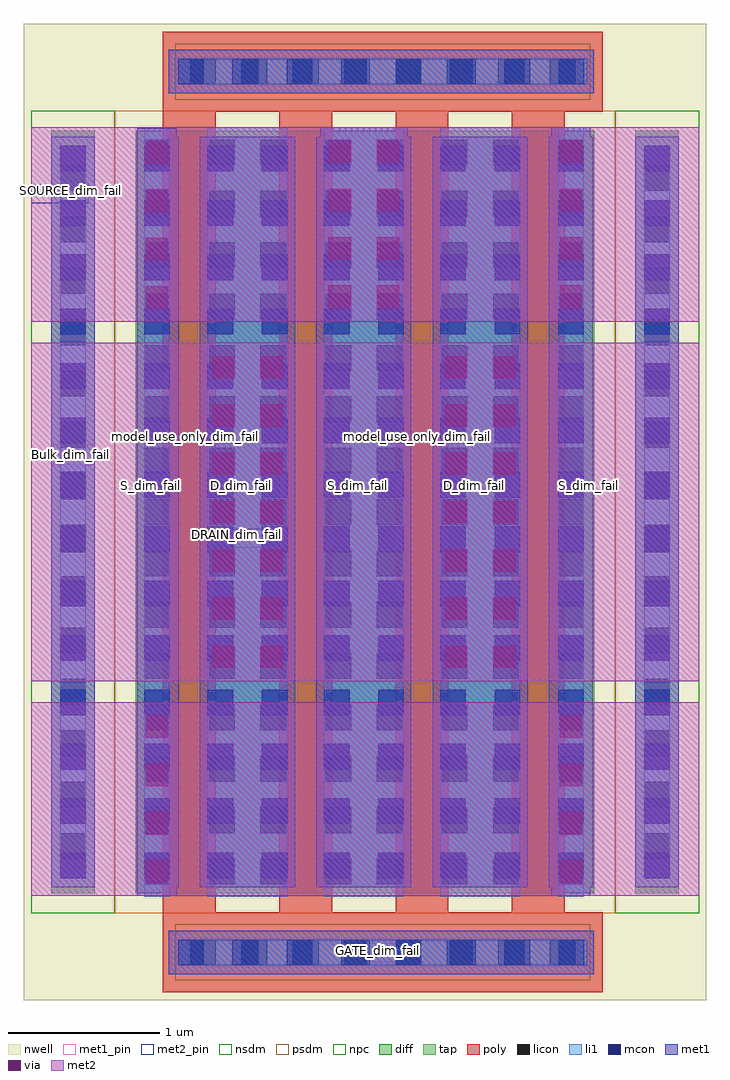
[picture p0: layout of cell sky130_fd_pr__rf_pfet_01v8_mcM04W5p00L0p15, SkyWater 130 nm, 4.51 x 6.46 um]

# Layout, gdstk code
import gdstk
lib = gdstk.Library(unit=1e-6, precision=1e-09)
def R(c, l, rs):  # rectangles x0, y0, x1, y1
    for r in rs: c.add(gdstk.rectangle(r[:2], r[2:], *l))
def A(c, l, x, y, w, h, nx, ny, dx, dy):  # array of equal rectangles
    R(c, l, [(x+i*dx, y+j*dy, x+i*dx+w, y+j*dy+h) for i in range(nx) for j in range(ny)])
def P(c, l, *ps):  # polygons
    for p in ps: c.add(gdstk.Polygon(p, *l))
nwell = (64, 20)
diff = (65, 20)
tap = (65, 44)
poly = (66, 20)
licon = (66, 44)
li1 = (67, 20)
mcon = (67, 44)
met1_pin = (68, 16)
met1 = (68, 20)
via = (68, 44)
met2_pin = (69, 16)
met2 = (69, 20)
nsdm = (93, 44)
psdm = (94, 20)
npc = (95, 20)

sky130_fd_pr__rf_pfet_01 = lib.new_cell('sky130_fd_pr__rf_pfet_01v8_mcM04W5p00L0p15')
R(sky130_fd_pr__rf_pfet_01, nwell, [(-0.05,0,4.465,6.46)])
R(sky130_fd_pr__rf_pfet_01, diff, [(0.69,0.705,3.725,5.755)])
R(sky130_fd_pr__rf_pfet_01, tap, [(0.13,0.705,0.42,5.755), (3.995,0.705,4.285,5.755)])
P(sky130_fd_pr__rf_pfet_01, poly, [(0.87,0.05),(0.87,5.88),(1.22,5.88),(1.22,0.58),(1.64,0.58),(1.64,5.88),(1.99,5.88),(1.99,0.58),(2.41,0.58),(2.41,5.88),(2.76,5.88),(2.76,0.58),(3.18,0.58),(3.18,5.88),(0.87,5.88),(0.87,6.41),(3.78,6.41),(3.78,5.88),(3.53,5.88),(3.53,0.58),(3.78,0.58),(3.78,0.05)])
A(sky130_fd_pr__rf_pfet_01, licon, 1.05, 0.23, 0.17, 0.17, 8, 2, 0.34, 5.83)
A(sky130_fd_pr__rf_pfet_01, licon, 0.745, 0.765, 0.17, 0.17, 1, 15, 0, 0.34)
A(sky130_fd_pr__rf_pfet_01, licon, 1.175, 0.765, 0.17, 0.17, 1, 15, 0, 0.34)
A(sky130_fd_pr__rf_pfet_01, licon, 1.515, 0.765, 0.17, 0.17, 1, 15, 0, 0.34)
A(sky130_fd_pr__rf_pfet_01, licon, 1.945, 0.765, 0.17, 0.17, 1, 15, 0, 0.34)
A(sky130_fd_pr__rf_pfet_01, licon, 2.285, 0.765, 0.17, 0.17, 1, 15, 0, 0.34)
A(sky130_fd_pr__rf_pfet_01, licon, 2.715, 0.765, 0.17, 0.17, 1, 15, 0, 0.34)
A(sky130_fd_pr__rf_pfet_01, licon, 3.055, 0.765, 0.17, 0.17, 1, 15, 0, 0.34)
A(sky130_fd_pr__rf_pfet_01, licon, 3.485, 0.765, 0.17, 0.17, 1, 15, 0, 0.34)
A(sky130_fd_pr__rf_pfet_01, licon, 0.19, 0.935, 0.17, 0.17, 1, 14, 0, 0.34)
A(sky130_fd_pr__rf_pfet_01, licon, 4.055, 0.935, 0.17, 0.17, 1, 14, 0, 0.34)
A(sky130_fd_pr__rf_pfet_01, li1, 1.165, 0.685, 0.53, 5.09, 3, 1, 0.77, 0)
R(sky130_fd_pr__rf_pfet_01, li1, [(0.97,0.23,3.68,0.4), (0.97,0.23,3.66,0.4), (0.745,0.685,0.915,5.775), (3.485,0.685,3.655,5.775), (0.19,0.805,0.36,5.655), (4.055,0.805,4.225,5.655), (0.19,0.855,0.36,5.605), (4.055,0.855,4.225,5.605), (0.19,1.875,0.36,4.585), (4.055,1.875,4.225,4.585), (0.97,6.06,3.68,6.23), (0.97,6.06,3.66,6.23)])
A(sky130_fd_pr__rf_pfet_01, mcon, 0.97, 0.23, 0.17, 0.17, 8, 2, 0.36, 5.83)
A(sky130_fd_pr__rf_pfet_01, mcon, 0.19, 0.805, 0.17, 0.17, 1, 14, 0, 0.36)
A(sky130_fd_pr__rf_pfet_01, mcon, 0.745, 0.805, 0.17, 0.17, 1, 14, 0, 0.36)
A(sky130_fd_pr__rf_pfet_01, mcon, 1.165, 0.805, 0.17, 0.17, 1, 14, 0, 0.36)
A(sky130_fd_pr__rf_pfet_01, mcon, 1.525, 0.805, 0.17, 0.17, 1, 14, 0, 0.36)
A(sky130_fd_pr__rf_pfet_01, mcon, 1.935, 0.805, 0.17, 0.17, 1, 14, 0, 0.36)
A(sky130_fd_pr__rf_pfet_01, mcon, 2.295, 0.805, 0.17, 0.17, 1, 14, 0, 0.36)
A(sky130_fd_pr__rf_pfet_01, mcon, 2.705, 0.805, 0.17, 0.17, 1, 14, 0, 0.36)
A(sky130_fd_pr__rf_pfet_01, mcon, 3.065, 0.805, 0.17, 0.17, 1, 14, 0, 0.36)
A(sky130_fd_pr__rf_pfet_01, mcon, 3.485, 0.805, 0.17, 0.17, 1, 14, 0, 0.36)
A(sky130_fd_pr__rf_pfet_01, mcon, 4.055, 0.805, 0.17, 0.17, 1, 14, 0, 0.36)
R(sky130_fd_pr__rf_pfet_01, met1_pin, [(2.07,0.25,2.5,0.375), (0.145,3.54,0.405,3.68)])
A(sky130_fd_pr__rf_pfet_01, met1, 1.115, 0.745, 0.63, 4.97, 3, 1, 0.77, 0)
R(sky130_fd_pr__rf_pfet_01, met1, [(0.91,0.17,3.72,0.46), (1.63,0.18,2.87,0.45), (0.7,0.69,0.96,1.97), (3.44,0.69,3.7,1.97), (0.13,0.745,0.42,5.715), (0.7,0.745,0.975,5.715), (3.425,0.745,3.715,5.715), (3.995,0.745,4.285,5.715), (1.14,2.11,1.72,4.35), (2.68,2.11,3.26,4.35), (0.7,4.49,0.96,5.77), (1.91,4.495,2.49,5.775), (3.44,4.495,3.7,5.775), (0.91,6,3.72,6.29)])
A(sky130_fd_pr__rf_pfet_01, via, 0.755, 0.775, 0.15, 0.15, 1, 4, 0, 0.32)
A(sky130_fd_pr__rf_pfet_01, via, 3.495, 0.775, 0.15, 0.15, 1, 4, 0, 0.32)
A(sky130_fd_pr__rf_pfet_01, via, 1.195, 2.195, 0.15, 0.15, 1, 7, 0, 0.32)
A(sky130_fd_pr__rf_pfet_01, via, 1.515, 2.195, 0.15, 0.15, 1, 7, 0, 0.32)
A(sky130_fd_pr__rf_pfet_01, via, 2.735, 2.195, 0.15, 0.15, 1, 7, 0, 0.32)
A(sky130_fd_pr__rf_pfet_01, via, 3.055, 2.195, 0.15, 0.15, 1, 7, 0, 0.32)
A(sky130_fd_pr__rf_pfet_01, via, 0.755, 4.575, 0.15, 0.15, 1, 4, 0, 0.32)
A(sky130_fd_pr__rf_pfet_01, via, 1.965, 4.58, 0.15, 0.15, 1, 4, 0, 0.32)
A(sky130_fd_pr__rf_pfet_01, via, 2.285, 4.58, 0.15, 0.15, 1, 4, 0, 0.32)
A(sky130_fd_pr__rf_pfet_01, via, 3.495, 4.58, 0.15, 0.15, 1, 4, 0, 0.32)
R(sky130_fd_pr__rf_pfet_01, met2_pin, [(1.165,2.995,1.545,3.12), (0,5.275,0.38,5.4)])
R(sky130_fd_pr__rf_pfet_01, met2, [(0,0.69,4.42,1.97), (0.7,0.69,0.96,1.97), (3.44,0.69,3.7,1.97), (0,2.11,4.42,4.35), (1.14,2.11,1.72,4.35), (2.68,2.11,3.26,4.35), (0,4.49,4.42,5.775), (0.7,4.49,0.96,5.77), (1.91,4.495,2.49,5.775), (3.44,4.495,3.7,5.775)])
R(sky130_fd_pr__rf_pfet_01, nsdm, [(0,0.575,0.55,5.885), (3.865,0.575,4.42,5.885)])
R(sky130_fd_pr__rf_pfet_01, psdm, [(0.55,0.575,3.865,5.885)])
R(sky130_fd_pr__rf_pfet_01, npc, [(0.95,0.13,3.7,0.5), (0.95,5.96,3.7,6.33)])
sky130_fd_pr__rf_pfet_01.add(gdstk.Label('model_use_only_dim_fail', (2.555,3.73), layer=66, texttype=83))
sky130_fd_pr__rf_pfet_01.add(gdstk.Label('model_use_only_dim_fail', (1.795,3.73), layer=66, texttype=83))
sky130_fd_pr__rf_pfet_01.add(gdstk.Label('model_use_only_dim_fail', (1.02,3.73), layer=66, texttype=83))
sky130_fd_pr__rf_pfet_01.add(gdstk.Label('model_use_only_dim_fail', (3.34,3.73), layer=66, texttype=83))
sky130_fd_pr__rf_pfet_01.add(gdstk.Label('D_dim_fail', (1.39,3.405), layer=83, texttype=44))
sky130_fd_pr__rf_pfet_01.add(gdstk.Label('S_dim_fail', (3.685,3.405), layer=83, texttype=44))
sky130_fd_pr__rf_pfet_01.add(gdstk.Label('S_dim_fail', (2.16,3.405), layer=83, texttype=44))
sky130_fd_pr__rf_pfet_01.add(gdstk.Label('S_dim_fail', (0.79,3.405), layer=83, texttype=44))
sky130_fd_pr__rf_pfet_01.add(gdstk.Label('D_dim_fail', (2.93,3.405), layer=83, texttype=44))
sky130_fd_pr__rf_pfet_01.add(gdstk.Label('GATE_dim_fail', (2.29,0.325), layer=68, texttype=16))
sky130_fd_pr__rf_pfet_01.add(gdstk.Label('DRAIN_dim_fail', (1.355,3.08), layer=69, texttype=16))
sky130_fd_pr__rf_pfet_01.add(gdstk.Label('SOURCE_dim_fail', (0.255,5.36), layer=69, texttype=16))
sky130_fd_pr__rf_pfet_01.add(gdstk.Label('Bulk_dim_fail', (0.26,3.61), layer=65, texttype=6))

lib.write_gds('sky130_fd_pr__rf_pfet_01v8_mcM04W5p00L0p15.gds')
